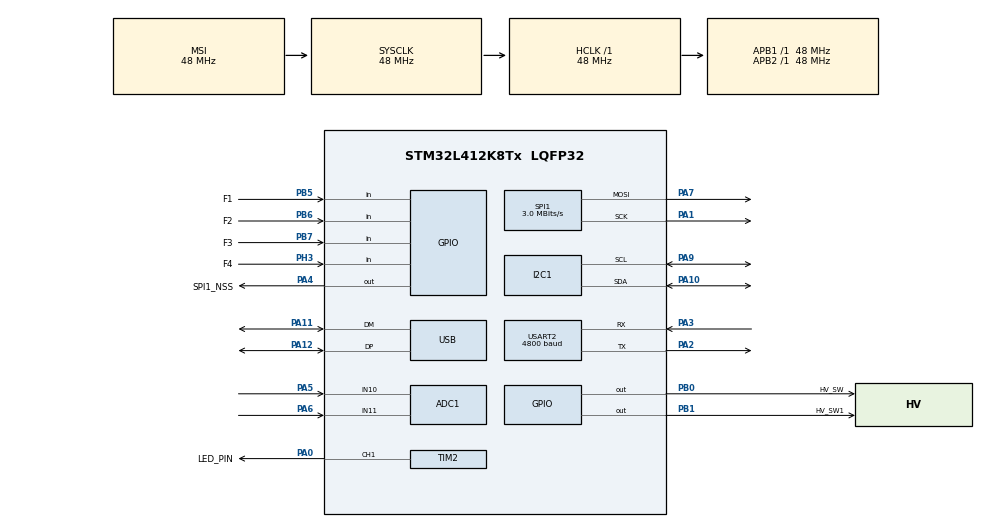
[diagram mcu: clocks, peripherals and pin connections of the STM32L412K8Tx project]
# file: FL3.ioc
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ADC1.Channel-0\#ChannelRegularConversion=ADC_CHANNEL_10
ADC1.Channel-1\#ChannelRegularConversion=ADC_CHANNEL_11
ADC1.ClockPrescaler=ADC_CLOCK_ASYNC_DIV4
ADC1.ContinuousConvMode=ENABLE
ADC1.DMAContinuousRequests=ENABLE
ADC1.EOCSelection=ADC_EOC_SINGLE_CONV
ADC1.NbrOfConversion=2
ADC1.NbrOfConversionFlag=1
ADC1.OffsetNumber-0\#ChannelRegularConversion=ADC_OFFSET_NONE
ADC1.OffsetNumber-1\#ChannelRegularConversion=ADC_OFFSET_NONE
ADC1.Overrun=ADC_OVR_DATA_PRESERVED
ADC1.Rank-0\#ChannelRegularConversion=1
ADC1.Rank-1\#ChannelRegularConversion=2
ADC1.SamplingTime-0\#ChannelRegularConversion=ADC_SAMPLETIME_247CYCLES_5
ADC1.SamplingTime-1\#ChannelRegularConversion=ADC_SAMPLETIME_247CYCLES_5
ADC1.master=1
Dma.ADC1.2.Direction=DMA_PERIPH_TO_MEMORY
Dma.ADC1.2.Instance=DMA2_Channel3
Dma.ADC1.2.MemDataAlignment=DMA_MDATAALIGN_WORD
Dma.ADC1.2.MemInc=DMA_MINC_ENABLE
Dma.ADC1.2.Mode=DMA_CIRCULAR
Dma.ADC1.2.PeriphDataAlignment=DMA_PDATAALIGN_WORD
Dma.ADC1.2.PeriphInc=DMA_PINC_DISABLE
Dma.ADC1.2.Priority=DMA_PRIORITY_LOW
Dma.Request0=TIM2_CH1
Dma.Request1=SPI1_TX
Dma.Request2=ADC1
Dma.SPI1_TX.1.Direction=DMA_MEMORY_TO_PERIPH
Dma.SPI1_TX.1.Instance=DMA2_Channel4
Dma.SPI1_TX.1.MemDataAlignment=DMA_MDATAALIGN_BYTE
Dma.SPI1_TX.1.MemInc=DMA_MINC_ENABLE
Dma.SPI1_TX.1.Mode=DMA_NORMAL
Dma.SPI1_TX.1.PeriphDataAlignment=DMA_PDATAALIGN_BYTE
Dma.SPI1_TX.1.PeriphInc=DMA_PINC_DISABLE
Dma.SPI1_TX.1.Priority=DMA_PRIORITY_MEDIUM
Dma.TIM2_CH1.0.Direction=DMA_MEMORY_TO_PERIPH
Dma.TIM2_CH1.0.Instance=DMA1_Channel5
Dma.TIM2_CH1.0.MemDataAlignment=DMA_MDATAALIGN_BYTE
Dma.TIM2_CH1.0.MemInc=DMA_MINC_ENABLE
Dma.TIM2_CH1.0.Mode=DMA_CIRCULAR
Dma.TIM2_CH1.0.PeriphDataAlignment=DMA_PDATAALIGN_WORD
Dma.TIM2_CH1.0.PeriphInc=DMA_PINC_DISABLE
Dma.TIM2_CH1.0.Priority=DMA_PRIORITY_VERY_HIGH
I2C1.Timing=0x20303E5D
Mcu.Family=STM32L4
Mcu.Name=STM32L412K8Tx
Mcu.Package=LQFP32
NVIC.ADC1_2_IRQn=true\:2\:0\:true\:false\:true\:true\:true\:true
NVIC.DMA1_Channel5_IRQn=true\:0\:0\:true\:false\:true\:false\:true\:true
NVIC.DMA2_Channel3_IRQn=true\:0\:0\:false\:false\:true\:false\:true\:true
NVIC.DMA2_Channel4_IRQn=true\:0\:0\:false\:false\:true\:false\:true\:true
NVIC.PriorityGroup=NVIC_PRIORITYGROUP_4
NVIC.TIM1_UP_TIM16_IRQn=true\:0\:0\:true\:false\:true\:true\:true\:true
NVIC.USART2_IRQn=true\:0\:0\:false\:false\:true\:true\:true\:true
NVIC.USB_IRQn=true\:1\:0\:true\:false\:true\:false\:true\:true
PA0-CK_IN.GPIO_Label=LED_PIN
PA0-CK_IN.Signal=S_TIM2_CH1
PA1.Mode=TX_Only_Simplex_Unidirect_Master
PA1.Signal=SPI1_SCK
PA10.GPIO_Pu=GPIO_PULLUP
PA10.Mode=I2C
PA10.Signal=I2C1_SDA
PA11.Mode=Device
PA11.Signal=USB_DM
PA12.Mode=Device
PA12.Signal=USB_DP
PA13\ (JTMS/SWDIO).Mode=Serial_Wire
PA13\ (JTMS/SWDIO).Signal=SYS_JTMS-SWDIO
PA14\ (JTCK/SWCLK).Mode=Serial_Wire
PA14\ (JTCK/SWCLK).Signal=SYS_JTCK-SWCLK
PA2.Mode=Asynchronous
PA2.Signal=USART2_TX
PA3.Mode=Asynchronous
PA3.Signal=USART2_RX
PA4.GPIO_Label=SPI1_NSS
PA4.Signal=GPIO_Output
PA5.Signal=ADCx_IN10
PA6.Signal=ADCx_IN11
PA7.Mode=TX_Only_Simplex_Unidirect_Master
PA7.Signal=SPI1_MOSI
PA9.GPIO_Pu=GPIO_PULLUP
PA9.Mode=I2C
PA9.Signal=I2C1_SCL
PB0.GPIO_Label=HV_SW
PB0.Signal=GPIO_Output
PB1.GPIO_Label=HV_SW1
PB1.Signal=GPIO_Output
PB5.GPIO_Label=F1
PB5.GPIO_PuPd=GPIO_PULLUP
PB5.Signal=GPIO_Input
PB6.GPIO_Label=F2
PB6.GPIO_PuPd=GPIO_PULLUP
PB6.Signal=GPIO_Input
PB7.GPIO_Label=F3
PB7.GPIO_PuPd=GPIO_PULLUP
PB7.Signal=GPIO_Input
PH3-BOOT0\ (BOOT0).GPIO_Label=F4
PH3-BOOT0\ (BOOT0).GPIO_PuPd=GPIO_PULLUP
PH3-BOOT0\ (BOOT0).Signal=GPIO_Input
ProjectManager.HeapSize=0x000
ProjectManager.StackSize=0x400
ProjectManager.TargetToolchain=STM32CubeIDE
RCC.ADCFreq_Value=48000000
RCC.AHBFreq_Value=48000000
RCC.APB1Freq_Value=48000000
RCC.APB1TimFreq_Value=48000000
RCC.APB2Freq_Value=48000000
RCC.APB2TimFreq_Value=48000000
RCC.CortexFreq_Value=48000000
RCC.HCLKFreq_Value=48000000
RCC.HSE_VALUE=8000000
RCC.HSI48_VALUE=48000000
RCC.HSI_VALUE=16000000
RCC.LSE_VALUE=32768
RCC.MSIClockRange=RCC_MSIRANGE_11
RCC.MSI_VALUE=48000000
RCC.PLLM=4
RCC.SYSCLKFreq_VALUE=48000000
RCC.USART2CLockSelection=RCC_USART2CLKSOURCE_HSI
RCC.USBFreq_Value=48000000
RCC.VCOOutputFreq_Value=96000000
SH.ADCx_IN10.0=ADC1_IN10,IN10-Single-Ended
SH.ADCx_IN11.0=ADC1_IN11,IN11-Single-Ended
SH.S_TIM2_CH1.0=TIM2_CH1,PWM Generation1 CH1
SPI1.BaudRatePrescaler=SPI_BAUDRATEPRESCALER_16
SPI1.CLKPhase=SPI_PHASE_2EDGE
SPI1.CLKPolarity=SPI_POLARITY_HIGH
SPI1.CalculateBaudRate=3.0 MBits/s
SPI1.DataSize=SPI_DATASIZE_8BIT
SPI1.Direction=SPI_DIRECTION_2LINES
SPI1.FirstBit=SPI_FIRSTBIT_LSB
SPI1.Mode=SPI_MODE_MASTER
SPI1.VirtualType=VM_MASTER
TIM16.Period=1
TIM16.Prescaler=20000-1
TIM2.Channel-PWM\ Generation1\ CH1=TIM_CHANNEL_1
TIM2.Period=60-1
USART2.BaudRate=4800
USART2.OverSampling=UART_OVERSAMPLING_16
USART2.VirtualMode-Asynchronous=VM_ASYNC
USB_DEVICE.APP_RX_DATA_SIZE=40
USB_DEVICE.APP_TX_DATA_SIZE=20
USB_DEVICE.CLASS_NAME_FS=CDC
USB_DEVICE.USBD_MAX_STR_DESC_SIZ=32
USB_DEVICE.VirtualMode=Cdc
USB_DEVICE.VirtualModeFS=Cdc_FS
VP_TIM16_VS_ClockSourceINT.Mode=Enable_Timer
VP_TIM2_VS_ClockSourceINT.Mode=Internal
VP_USB_DEVICE_VS_USB_DEVICE_CDC_FS.Mode=CDC_FS
board=custom

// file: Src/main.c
/* USER CODE BEGIN Header */
/**
  ******************************************************************************
  * @file           : main.c
  * @brief          : Main program body
  ******************************************************************************
  * @attention
  *
  * <h2><center>&copy; Copyright (c) 2020 STMicroelectronics.
  * All rights reserved.</center></h2>
  *
  * This software component is licensed by ST under Ultimate Liberty license
  * SLA0044, the "License"; You may not use this file except in compliance with
  * the License. You may obtain a copy of the License at:
  *                             www.st.com/SLA0044
  *
  ******************************************************************************
  */

// Build settings for generation of .bin (used for dfu-util firmware update), which gets overwritten during CubeMX generation:
// arm-none-eabi-objcopy -O ihex ${BuildArtifactFileBaseName}.elf ${BuildArtifactFileBaseName}.hex && arm-none-eabi-size ${BuildArtifactFileName} && arm-none-eabi-objcopy -O binary ${BuildArtifactFileBaseName}.elf ${BuildArtifactFileBaseName}.bin
// Option byte: Set nSWBOOT0 to 0 (unchecked)

/* USER CODE END Header */
#include "main.h"
#include "usb_device.h"

/* USER CODE BEGIN Includes */
#include "../../Commons/vfdco_clock_routines.h"
/* USER CODE END Includes */

/* USER CODE BEGIN PD */
#define USB_DEF_L 310
#define USB_DEF_H 757
#define USB_1A5_L 868
#define USB_1A5_H 1440
#define USB_3A0_L 1625
#define USB_3A0_H 2531

#define BOOTLOADER_FLAG_VALUE 0x00C0FFEE
#define BOOTLOADER_FLAG_OFFSET 50
#define BOOTLOADER_ADDRESS 0x1FFF0000 // AN2606 Table 150
/* USER CODE END PD */

 ADC_HandleTypeDef hadc1;
DMA_HandleTypeDef hdma_adc1;

I2C_HandleTypeDef hi2c1;

SPI_HandleTypeDef hspi1;
DMA_HandleTypeDef hdma_spi1_tx;

TIM_HandleTypeDef htim2;
TIM_HandleTypeDef htim16;
DMA_HandleTypeDef hdma_tim2_ch1;

UART_HandleTypeDef huart2;

/* USER CODE BEGIN PV */

// Switch variable between two ADC channels for CC1 and CC2 of USB Type C input
uint32_t adc_channel = ADC_CHANNEL_1;
// Stores ADC readout values for CH1 and CH2
volatile uint32_t ch1_in = 0, ch2_in = 0;
uint32_t adc_ch[2];

typedef enum {
  USB_CC_VOLTAGE_OUT_OF_RANGE,
  USB_CC_VOLTAGE_DEFAULT,
  USB_CC_VOLTAGE_1A5,
  USB_CC_VOLTAGE_3A0
} USB_CC_VOLTAGE_t;

/* USER CODE END PV */

void SystemClock_Config(void);
static void MX_GPIO_Init(void);
static void MX_DMA_Init(void);
static void MX_ADC1_Init(void);
static void MX_I2C1_Init(void);
static void MX_SPI1_Init(void);
static void MX_TIM2_Init(void);
static void MX_TIM16_Init(void);
static void MX_USART2_UART_Init(void);
/* USER CODE BEGIN PFP */

static USB_CC_VOLTAGE_t check_usb_cc(uint_fast16_t cc_voltage);

/* USER CODE END PFP */

int main(void)
{

  /* MCU Configuration--------------------------------------------------------*/

  /* Reset of all peripherals, Initializes the Flash interface and the Systick. */
  HAL_Init();

  /* Configure the system clock */
  SystemClock_Config();

  /* Initialize all configured peripherals */
  MX_GPIO_Init();
  MX_DMA_Init();
  MX_ADC1_Init();
  MX_I2C1_Init();
  MX_SPI1_Init();
  MX_TIM2_Init();
  MX_TIM16_Init();
  MX_USART2_UART_Init();
  MX_USB_DEVICE_Init();
  /* USER CODE BEGIN 2 */

  // Start CC read in
  HAL_ADC_Start_DMA(&hadc1, adc_ch, 2);
  HAL_Delay(10);
  USB_CC_VOLTAGE_t cc_status_setup = check_usb_cc((ch1_in > ch2_in) ? ch1_in : ch2_in);

  // Boot!
  if(cc_status_setup == USB_CC_VOLTAGE_OUT_OF_RANGE || cc_status_setup == USB_CC_VOLTAGE_DEFAULT) {
    // At startup, do not turn on if weak power source is present. Instead welcome with low power lights
    HAL_GPIO_WritePin(HV_SW_GPIO_Port, HV_SW_Pin, GPIO_PIN_RESET);
    // Initialize clock
    vfdco_clock_initializer(0x00440000); // Green progress bar as welcome message!
  } else /*if(cc_status_setup == USB_CC_VOLTAGE_1A5 || cc_status_setup == USB_CC_VOLTAGE_3A0)*/ {
    HAL_GPIO_WritePin(HV_SW_GPIO_Port, HV_SW_Pin, GPIO_PIN_SET);
    // Initialize clock
    vfdco_clock_initializer(0x00000000); // No progress
  }

  /* USER CODE END 2 */

  /* Infinite loop */
  while (1)
  {

    /* USER CODE BEGIN 3 */

    // Monitor CC voltage
    USB_CC_VOLTAGE_t cc_status_loop = check_usb_cc((ch1_in > ch2_in) ? ch1_in : ch2_in);
    switch(cc_status_loop) {
      case USB_CC_VOLTAGE_OUT_OF_RANGE: HAL_GPIO_WritePin(HV_SW_GPIO_Port, HV_SW_Pin, GPIO_PIN_RESET); break;
      // At runtime, turn on despite weak source, and pray for the port to supply up to 0.9A lol which is no problem 99% of the time
      case USB_CC_VOLTAGE_DEFAULT:      HAL_GPIO_WritePin(HV_SW_GPIO_Port, HV_SW_Pin, GPIO_PIN_SET); break;
      case USB_CC_VOLTAGE_1A5:          HAL_GPIO_WritePin(HV_SW_GPIO_Port, HV_SW_Pin, GPIO_PIN_SET); break;
      case USB_CC_VOLTAGE_3A0:          HAL_GPIO_WritePin(HV_SW_GPIO_Port, HV_SW_Pin, GPIO_PIN_SET); break;
    }

  	// WoHOo hOw FuN iS tHhIis??
  	vfdco_clock_routine();

  	// Update IWDG
  	// HAL_IWDG_Refresh(&hiwdg);
  }
  /* USER CODE END 3 */
}

void SystemClock_Config(void)
{
  RCC_OscInitTypeDef RCC_OscInitStruct = {0};
  RCC_ClkInitTypeDef RCC_ClkInitStruct = {0};

  /** Configure the main internal regulator output voltage
  */
  if (HAL_PWREx_ControlVoltageScaling(PWR_REGULATOR_VOLTAGE_SCALE1) != HAL_OK)
  {
    Error_Handler();
  }

  /** Initializes the RCC Oscillators according to the specified parameters
  * in the RCC_OscInitTypeDef structure.
  */
  RCC_OscInitStruct.OscillatorType = RCC_OSCILLATORTYPE_HSI|RCC_OSCILLATORTYPE_MSI;
  RCC_OscInitStruct.HSIState = RCC_HSI_ON;
  RCC_OscInitStruct.HSICalibrationValue = RCC_HSICALIBRATION_DEFAULT;
  RCC_OscInitStruct.MSIState = RCC_MSI_ON;
  RCC_OscInitStruct.MSICalibrationValue = 0;
  RCC_OscInitStruct.MSIClockRange = RCC_MSIRANGE_11;
  RCC_OscInitStruct.PLL.PLLState = RCC_PLL_NONE;
  if (HAL_RCC_OscConfig(&RCC_OscInitStruct) != HAL_OK)
  {
    Error_Handler();
  }

  /** Initializes the CPU, AHB and APB buses clocks
  */
  RCC_ClkInitStruct.ClockType = RCC_CLOCKTYPE_HCLK|RCC_CLOCKTYPE_SYSCLK
                              |RCC_CLOCKTYPE_PCLK1|RCC_CLOCKTYPE_PCLK2;
  RCC_ClkInitStruct.SYSCLKSource = RCC_SYSCLKSOURCE_MSI;
  RCC_ClkInitStruct.AHBCLKDivider = RCC_SYSCLK_DIV1;
  RCC_ClkInitStruct.APB1CLKDivider = RCC_HCLK_DIV1;
  RCC_ClkInitStruct.APB2CLKDivider = RCC_HCLK_DIV1;

  if (HAL_RCC_ClockConfig(&RCC_ClkInitStruct, FLASH_LATENCY_2) != HAL_OK)
  {
    Error_Handler();
  }
}

static void MX_ADC1_Init(void)
{

  ADC_MultiModeTypeDef multimode = {0};
  ADC_ChannelConfTypeDef sConfig = {0};

  /** Common config
  */
  hadc1.Instance = ADC1;
  hadc1.Init.ClockPrescaler = ADC_CLOCK_ASYNC_DIV4;
  hadc1.Init.Resolution = ADC_RESOLUTION_12B;
  hadc1.Init.DataAlign = ADC_DATAALIGN_RIGHT;
  hadc1.Init.ScanConvMode = ADC_SCAN_ENABLE;
  hadc1.Init.EOCSelection = ADC_EOC_SINGLE_CONV;
  hadc1.Init.LowPowerAutoWait = DISABLE;
  hadc1.Init.ContinuousConvMode = ENABLE;
  hadc1.Init.NbrOfConversion = 2;
  hadc1.Init.DiscontinuousConvMode = DISABLE;
  hadc1.Init.ExternalTrigConv = ADC_SOFTWARE_START;
  hadc1.Init.ExternalTrigConvEdge = ADC_EXTERNALTRIGCONVEDGE_NONE;
  hadc1.Init.DMAContinuousRequests = ENABLE;
  hadc1.Init.Overrun = ADC_OVR_DATA_PRESERVED;
  hadc1.Init.OversamplingMode = DISABLE;
  if (HAL_ADC_Init(&hadc1) != HAL_OK)
  {
    Error_Handler();
  }

  /** Configure the ADC multi-mode
  */
  multimode.Mode = ADC_MODE_INDEPENDENT;
  if (HAL_ADCEx_MultiModeConfigChannel(&hadc1, &multimode) != HAL_OK)
  {
    Error_Handler();
  }

  /** Configure Regular Channel
  */
  sConfig.Channel = ADC_CHANNEL_10;
  sConfig.Rank = ADC_REGULAR_RANK_1;
  sConfig.SamplingTime = ADC_SAMPLETIME_247CYCLES_5;
  sConfig.SingleDiff = ADC_SINGLE_ENDED;
  sConfig.OffsetNumber = ADC_OFFSET_NONE;
  sConfig.Offset = 0;
  if (HAL_ADC_ConfigChannel(&hadc1, &sConfig) != HAL_OK)
  {
    Error_Handler();
  }

  /** Configure Regular Channel
  */
  sConfig.Channel = ADC_CHANNEL_11;
  sConfig.Rank = ADC_REGULAR_RANK_2;
  if (HAL_ADC_ConfigChannel(&hadc1, &sConfig) != HAL_OK)
  {
    Error_Handler();
  }

}

static void MX_I2C1_Init(void)
{

  hi2c1.Instance = I2C1;
  hi2c1.Init.Timing = 0x20303E5D;
  hi2c1.Init.OwnAddress1 = 0;
  hi2c1.Init.AddressingMode = I2C_ADDRESSINGMODE_7BIT;
  hi2c1.Init.DualAddressMode = I2C_DUALADDRESS_DISABLE;
  hi2c1.Init.OwnAddress2 = 0;
  hi2c1.Init.OwnAddress2Masks = I2C_OA2_NOMASK;
  hi2c1.Init.GeneralCallMode = I2C_GENERALCALL_DISABLE;
  hi2c1.Init.NoStretchMode = I2C_NOSTRETCH_DISABLE;
  if (HAL_I2C_Init(&hi2c1) != HAL_OK)
  {
    Error_Handler();
  }

  /** Configure Analogue filter
  */
  if (HAL_I2CEx_ConfigAnalogFilter(&hi2c1, I2C_ANALOGFILTER_ENABLE) != HAL_OK)
  {
    Error_Handler();
  }

  /** Configure Digital filter
  */
  if (HAL_I2CEx_ConfigDigitalFilter(&hi2c1, 0) != HAL_OK)
  {
    Error_Handler();
  }

}

static void MX_SPI1_Init(void)
{

  /* SPI1 parameter configuration*/
  hspi1.Instance = SPI1;
  hspi1.Init.Mode = SPI_MODE_MASTER;
  hspi1.Init.Direction = SPI_DIRECTION_2LINES;
  hspi1.Init.DataSize = SPI_DATASIZE_8BIT;
  hspi1.Init.CLKPolarity = SPI_POLARITY_HIGH;
  hspi1.Init.CLKPhase = SPI_PHASE_2EDGE;
  hspi1.Init.NSS = SPI_NSS_SOFT;
  hspi1.Init.BaudRatePrescaler = SPI_BAUDRATEPRESCALER_16;
  hspi1.Init.FirstBit = SPI_FIRSTBIT_LSB;
  hspi1.Init.TIMode = SPI_TIMODE_DISABLE;
  hspi1.Init.CRCCalculation = SPI_CRCCALCULATION_DISABLE;
  hspi1.Init.CRCPolynomial = 7;
  hspi1.Init.CRCLength = SPI_CRC_LENGTH_DATASIZE;
  hspi1.Init.NSSPMode = SPI_NSS_PULSE_DISABLE;
  if (HAL_SPI_Init(&hspi1) != HAL_OK)
  {
    Error_Handler();
  }

}

static void MX_TIM2_Init(void)
{

  TIM_ClockConfigTypeDef sClockSourceConfig = {0};
  TIM_MasterConfigTypeDef sMasterConfig = {0};
  TIM_OC_InitTypeDef sConfigOC = {0};

  htim2.Instance = TIM2;
  htim2.Init.Prescaler = 0;
  htim2.Init.CounterMode = TIM_COUNTERMODE_UP;
  htim2.Init.Period = 60-1;
  htim2.Init.ClockDivision = TIM_CLOCKDIVISION_DIV1;
  htim2.Init.AutoReloadPreload = TIM_AUTORELOAD_PRELOAD_DISABLE;
  if (HAL_TIM_Base_Init(&htim2) != HAL_OK)
  {
    Error_Handler();
  }
  sClockSourceConfig.ClockSource = TIM_CLOCKSOURCE_INTERNAL;
  if (HAL_TIM_ConfigClockSource(&htim2, &sClockSourceConfig) != HAL_OK)
  {
    Error_Handler();
  }
  if (HAL_TIM_PWM_Init(&htim2) != HAL_OK)
  {
    Error_Handler();
  }
  sMasterConfig.MasterOutputTrigger = TIM_TRGO_RESET;
  sMasterConfig.MasterSlaveMode = TIM_MASTERSLAVEMODE_DISABLE;
  if (HAL_TIMEx_MasterConfigSynchronization(&htim2, &sMasterConfig) != HAL_OK)
  {
    Error_Handler();
  }
  sConfigOC.OCMode = TIM_OCMODE_PWM1;
  sConfigOC.Pulse = 0;
  sConfigOC.OCPolarity = TIM_OCPOLARITY_HIGH;
  sConfigOC.OCFastMode = TIM_OCFAST_DISABLE;
  if (HAL_TIM_PWM_ConfigChannel(&htim2, &sConfigOC, TIM_CHANNEL_1) != HAL_OK)
  {
    Error_Handler();
  }
  HAL_TIM_MspPostInit(&htim2);

}

static void MX_TIM16_Init(void)
{

  htim16.Instance = TIM16;
  htim16.Init.Prescaler = 20000-1;
  htim16.Init.CounterMode = TIM_COUNTERMODE_UP;
  htim16.Init.Period = 1;
  htim16.Init.ClockDivision = TIM_CLOCKDIVISION_DIV1;
  htim16.Init.RepetitionCounter = 0;
  htim16.Init.AutoReloadPreload = TIM_AUTORELOAD_PRELOAD_DISABLE;
  if (HAL_TIM_Base_Init(&htim16) != HAL_OK)
  {
    Error_Handler();
  }

}

static void MX_USART2_UART_Init(void)
{

  huart2.Instance = USART2;
  huart2.Init.BaudRate = 4800;
  huart2.Init.WordLength = UART_WORDLENGTH_8B;
  huart2.Init.StopBits = UART_STOPBITS_1;
  huart2.Init.Parity = UART_PARITY_NONE;
  huart2.Init.Mode = UART_MODE_TX_RX;
  huart2.Init.HwFlowCtl = UART_HWCONTROL_NONE;
  huart2.Init.OverSampling = UART_OVERSAMPLING_16;
  huart2.Init.OneBitSampling = UART_ONE_BIT_SAMPLE_DISABLE;
  huart2.AdvancedInit.AdvFeatureInit = UART_ADVFEATURE_NO_INIT;
  if (HAL_UART_Init(&huart2) != HAL_OK)
  {
    Error_Handler();
  }

}

static void MX_DMA_Init(void)
{

  /* DMA controller clock enable */
  __HAL_RCC_DMA1_CLK_ENABLE();
  __HAL_RCC_DMA2_CLK_ENABLE();

  /* DMA interrupt init */
  /* DMA1_Channel5_IRQn interrupt configuration */
  HAL_NVIC_SetPriority(DMA1_Channel5_IRQn, 0, 0);
  HAL_NVIC_EnableIRQ(DMA1_Channel5_IRQn);
  /* DMA2_Channel3_IRQn interrupt configuration */
  HAL_NVIC_SetPriority(DMA2_Channel3_IRQn, 0, 0);
  HAL_NVIC_EnableIRQ(DMA2_Channel3_IRQn);
  /* DMA2_Channel4_IRQn interrupt configuration */
  HAL_NVIC_SetPriority(DMA2_Channel4_IRQn, 0, 0);
  HAL_NVIC_EnableIRQ(DMA2_Channel4_IRQn);

}

static void MX_GPIO_Init(void)
{
  GPIO_InitTypeDef GPIO_InitStruct = {0};

  /* GPIO Ports Clock Enable */
  __HAL_RCC_GPIOC_CLK_ENABLE();
  __HAL_RCC_GPIOA_CLK_ENABLE();
  __HAL_RCC_GPIOB_CLK_ENABLE();
  __HAL_RCC_GPIOH_CLK_ENABLE();

  /*Configure GPIO pin Output Level */
  HAL_GPIO_WritePin(SPI1_NSS_GPIO_Port, SPI1_NSS_Pin, GPIO_PIN_RESET);

  /*Configure GPIO pin Output Level */
  HAL_GPIO_WritePin(GPIOB, HV_SW_Pin|HV_SW1_Pin, GPIO_PIN_RESET);

  /*Configure GPIO pins : PC14 PC15 */
  GPIO_InitStruct.Pin = GPIO_PIN_14|GPIO_PIN_15;
  GPIO_InitStruct.Mode = GPIO_MODE_ANALOG;
  GPIO_InitStruct.Pull = GPIO_NOPULL;
  HAL_GPIO_Init(GPIOC, &GPIO_InitStruct);

  /*Configure GPIO pin : SPI1_NSS_Pin */
  GPIO_InitStruct.Pin = SPI1_NSS_Pin;
  GPIO_InitStruct.Mode = GPIO_MODE_OUTPUT_PP;
  GPIO_InitStruct.Pull = GPIO_NOPULL;
  GPIO_InitStruct.Speed = GPIO_SPEED_FREQ_LOW;
  HAL_GPIO_Init(SPI1_NSS_GPIO_Port, &GPIO_InitStruct);

  /*Configure GPIO pins : HV_SW_Pin HV_SW1_Pin */
  GPIO_InitStruct.Pin = HV_SW_Pin|HV_SW1_Pin;
  GPIO_InitStruct.Mode = GPIO_MODE_OUTPUT_PP;
  GPIO_InitStruct.Pull = GPIO_NOPULL;
  GPIO_InitStruct.Speed = GPIO_SPEED_FREQ_LOW;
  HAL_GPIO_Init(GPIOB, &GPIO_InitStruct);

  /*Configure GPIO pins : PA8 PA15 */
  GPIO_InitStruct.Pin = GPIO_PIN_8|GPIO_PIN_15;
  GPIO_InitStruct.Mode = GPIO_MODE_ANALOG;
  GPIO_InitStruct.Pull = GPIO_NOPULL;
  HAL_GPIO_Init(GPIOA, &GPIO_InitStruct);

  /*Configure GPIO pins : PB3 PB4 */
  GPIO_InitStruct.Pin = GPIO_PIN_3|GPIO_PIN_4;
  GPIO_InitStruct.Mode = GPIO_MODE_ANALOG;
  GPIO_InitStruct.Pull = GPIO_NOPULL;
  HAL_GPIO_Init(GPIOB, &GPIO_InitStruct);

  /*Configure GPIO pins : F1_Pin F2_Pin F3_Pin */
  GPIO_InitStruct.Pin = F1_Pin|F2_Pin|F3_Pin;
  GPIO_InitStruct.Mode = GPIO_MODE_INPUT;
  GPIO_InitStruct.Pull = GPIO_PULLUP;
  HAL_GPIO_Init(GPIOB, &GPIO_InitStruct);

  /*Configure GPIO pin : F4_Pin */
  GPIO_InitStruct.Pin = F4_Pin;
  GPIO_InitStruct.Mode = GPIO_MODE_INPUT;
  GPIO_InitStruct.Pull = GPIO_PULLUP;
  HAL_GPIO_Init(F4_GPIO_Port, &GPIO_InitStruct);

}

/* USER CODE BEGIN 4 */
/**
 * @brief This function detects the USB Type C CC pin voltage and switches on the HV parts depending on the maximum power
 * offered by the upstream source (or cable, if USB 2.0/3.0 legacy). It is implemented according to
 * Table 4-36 'Voltage on Sink CC pins (Multiple Source Current Advertisements)' in USB Type-C Specification R2.0 - August 2019
 * @param cc_voltage CC voltage analog input value from ADC channels
 * @return USB CC detected, according to USB_CC_VOLTAGE_t
 */
static USB_CC_VOLTAGE_t check_usb_cc(uint_fast16_t cc_voltage) {
	if(cc_voltage >= USB_DEF_L && cc_voltage <= USB_DEF_H) {
    return USB_CC_VOLTAGE_DEFAULT;
	} else if(cc_voltage >= USB_1A5_L && cc_voltage <= USB_1A5_H) {
    return USB_CC_VOLTAGE_1A5;
	} else if(cc_voltage >= USB_3A0_L && cc_voltage <= USB_3A0_H) {
    return USB_CC_VOLTAGE_3A0;
	} else {
    return USB_CC_VOLTAGE_OUT_OF_RANGE;
	}
}

/**
 * @brief ADC conversion complete callback. If the ADC read in has completed
 * @param hadc
 */
void HAL_ADC_ConvCpltCallback(ADC_HandleTypeDef* hadc) {
	/*ADC_ChannelConfTypeDef sConfig;
	if(adc_channel == ADC_CHANNEL_10) {
		ch1_in = HAL_ADC_GetValue(hadc);
		sConfig.Rank = ADC_REGULAR_RANK_1;
		sConfig.Channel = ADC_CHANNEL_11;
		HAL_ADC_ConfigChannel(hadc, &sConfig);
		adc_channel = ADC_CHANNEL_11;
	} else {
		ch2_in = HAL_ADC_GetValue(hadc);
		sConfig.Rank = ADC_REGULAR_RANK_1;
		sConfig.Channel = ADC_CHANNEL_10;
		HAL_ADC_ConfigChannel(hadc, &sConfig);
		adc_channel = ADC_CHANNEL_10;
	}
	HAL_ADC_Start_IT(hadc);*/
	ch1_in = adc_ch[0];
	ch2_in = adc_ch[1];
}

extern volatile uint32_t _bootloader_flag;
/**
 * @brief Write dirty bit and go into DFU mode bootloader
 * @param bootloader_status
 */
void activate_bootloader(uint32_t bootloader_status) {
	if(bootloader_status == 1) {
		// Write DFU message
		uint8_t dfu_msg[6] = {0x00, 0x00, 0x00, 0x7C, 0x8E, 0x7A};
		NVIC_DisableIRQ(TIM1_UP_TIM16_IRQn);
		HAL_SPI_Transmit(&hspi1, dfu_msg, CONFIG_NUM_DIGITS, 40);
		HAL_GPIO_WritePin(GPIOA, GPIO_PIN_4, GPIO_PIN_SET);
		HAL_GPIO_WritePin(GPIOA, GPIO_PIN_4, GPIO_PIN_RESET);
		NVIC_EnableIRQ(TIM1_UP_TIM16_IRQn);
		// Disable interrupts
		__disable_irq();
		// http://blog.fahhem.com/2017/12/jump-to-emb-bootloader/
		_bootloader_flag = BOOTLOADER_FLAG_VALUE; // Magic number flag set
		// See you latte
		NVIC_SystemReset();

	  while(1);
	}
}

/* USER CODE END 4 */

void Error_Handler(void)
{
}
